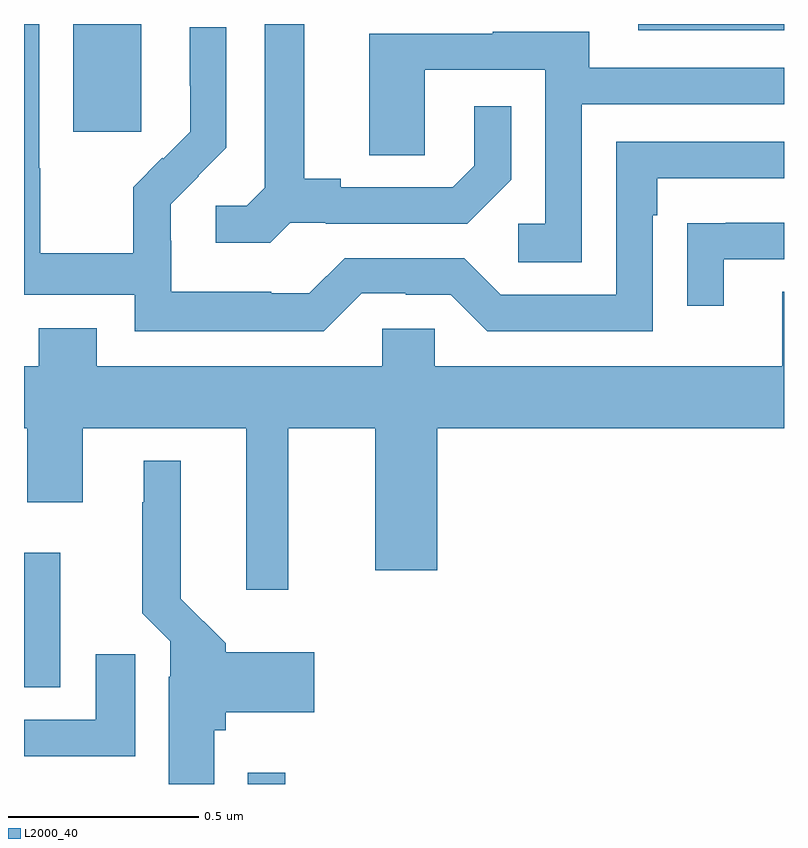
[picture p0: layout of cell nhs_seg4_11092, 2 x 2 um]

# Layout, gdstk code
import gdstk
lib = gdstk.Library(unit=1e-6, precision=1e-09)
def R(c, l, rs):  # rectangles x0, y0, x1, y1
    for r in rs: c.add(gdstk.rectangle(r[:2], r[2:], *l))
def P(c, l, *ps):  # polygons
    for p in ps: c.add(gdstk.Polygon(p, *l))
L2000_40 = (2000, 40)

nhs_seg4_11092 = lib.new_cell('nhs_seg4_11092')
R(nhs_seg4_11092, L2000_40, [(248.589,779.9,248.688,779.929), (248,780.154,248.095,780.508), (248.129,781.617,248.308,781.9), (249.617,781.884,250,781.9)])
P(nhs_seg4_11092, L2000_40, [(248.889,781.191),(249.005,781.191),(249.005,781.188),(249.123,781.188),(249.219,781.092),(249.654,781.092),(249.654,781.397),(249.667,781.397),(249.667,781.494),(250,781.494),(250,781.59),(249.558,781.59),(249.558,781.188),(249.255,781.188),(249.159,781.284),(248.844,781.284),(248.751,781.191),(248.651,781.191),(248.651,781.195),(248.388,781.195),(248.388,781.329),(248.386,781.329),(248.386,781.426),(248.46,781.5),(248.459,781.501),(248.532,781.574),(248.532,781.892),(248.436,781.892),(248.436,781.738),(248.438,781.738),(248.438,781.616),(248.367,781.545),(248.364,781.548),(248.287,781.471),(248.287,781.297),(248.043,781.297),(248.043,781.52),(248.04,781.52),(248.04,781.9),(248,781.9),(248,781.188),(248.292,781.188),(248.292,781.091),(248.789,781.091)],
  [(248.7,781.377),(248.794,781.377),(248.794,781.374),(249.166,781.374),(249.282,781.49),(249.282,781.684),(249.185,781.684),(249.185,781.527),(249.128,781.47),(248.833,781.47),(248.833,781.493),(248.737,781.493),(248.737,781.9),(248.633,781.9),(248.633,781.469),(248.586,781.422),(248.505,781.422),(248.505,781.325),(248.648,781.325)],
  [(249.468,781.689),(250,781.689),(250,781.785),(249.487,781.785),(249.487,781.879),(249.233,781.879),(249.233,781.875),(248.909,781.875),(248.909,781.555),(249.054,781.555),(249.054,781.779),(249.372,781.779),(249.372,781.374),(249.3,781.374),(249.3,781.273),(249.468,781.273)],
  [(249.841,781.281),(250,781.281),(250,781.377),(249.847,781.377),(249.847,781.376),(249.745,781.376),(249.745,781.158),(249.841,781.158)],
  [(248.695,780.836),(248.924,780.836),(248.924,780.462),(249.088,780.462),(249.088,780.836),(250,780.836),(250,781.195),(249.995,781.195),(249.995,781),(249.081,781),(249.081,781.098),(248.943,781.098),(248.943,781),(248.191,781),(248.191,781.099),(248.039,781.099),(248.039,781),(248,781),(248,780.836),(248.008,780.836),(248.008,780.642),(248.155,780.642),(248.155,780.836),(248.585,780.836),(248.585,780.411),(248.695,780.411)],
  [(248.5,780.042),(248.531,780.042),(248.531,780.089),(248.764,780.089),(248.764,780.247),(248.531,780.247),(248.531,780.27),(248.413,780.388),(248.413,780.751),(248.315,780.751),(248.315,780.641),(248.311,780.641),(248.311,780.35),(248.385,780.276),(248.385,780.182),(248.381,780.182),(248.381,779.9),(248.5,779.9)],
  [(248.293,780.241),(248.189,780.241),(248.189,780.069),(248,780.069),(248,779.973),(248.293,779.973)])

lib.write_gds('nhs_seg4_11092.gds')
